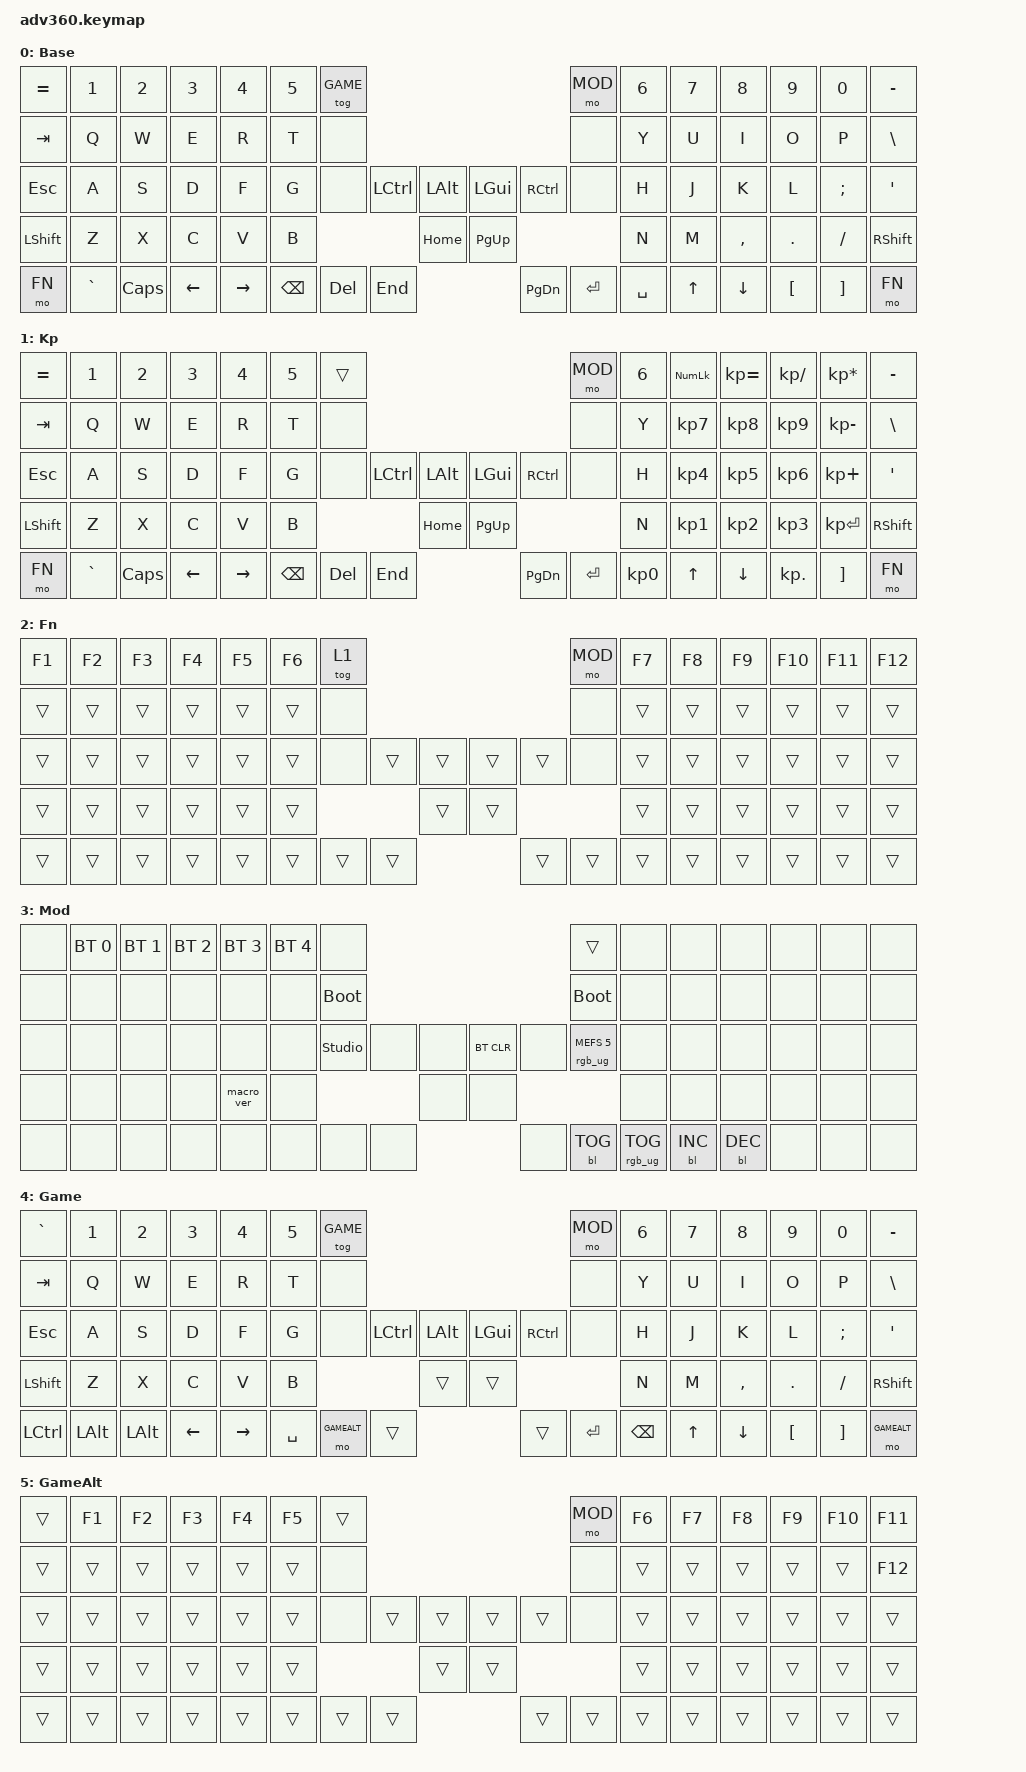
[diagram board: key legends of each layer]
#define DEFAULT 0
#define KEYPAD 1
#define FN 2
#define MOD 3
#define GAME 4
#define GAMEALT 5

#include <behaviors.dtsi>
#include <dt-bindings/zmk/keys.h>
#include <dt-bindings/zmk/bt.h>
#include <dt-bindings/zmk/rgb.h>
#include <dt-bindings/zmk/stp.h>
#include <dt-bindings/zmk/backlight.h>
#include <dt-bindings/zmk/pointing.h>

/ {
    behaviors {
      #include "macros.dtsi"
      #include "version.dtsi"

      hm: homerow_mods {
          compatible = "zmk,behavior-hold-tap";
          label = "HOMEROW_MODS";
          #binding-cells = <2>;
          tapping-term-ms = <200>;
          quick_tap_ms = <175>;
          flavor = "tap-preferred";
          bindings = <&kp>, <&kp>;
      };
    };

    keymap {
        compatible = "zmk,keymap";

    default_layer {
      display-name = "Base";
      bindings = <
        &kp EQUAL &kp N1    &kp N2   &kp N3   &kp N4     &kp N5 &tog GAME                                                        &mo MOD &kp N6 &kp N7 &kp N8    &kp N9   &kp N0   &kp MINUS
        &kp TAB   &kp Q     &kp W    &kp E    &kp R      &kp T  &none                                                            &none   &kp Y  &kp U  &kp I     &kp O    &kp P    &kp BSLH
        &kp ESC   &kp A     &kp S    &kp D    &kp F      &kp G  &none           &kp LCTRL &kp LALT &kp LGUI  &kp RCTRL           &none   &kp H  &kp J  &kp K     &kp L    &kp SEMI &kp SQT
        &kp LSHFT &kp Z     &kp X    &kp C    &kp V      &kp B                            &kp HOME &kp PG_UP                             &kp N  &kp M  &kp COMMA &kp DOT  &kp FSLH &kp RSHFT
        &mo FN    &kp GRAVE &kp CAPS &kp LEFT &kp RIGHT                &kp BSPC &kp DEL   &kp END  &kp PG_DN &kp ENTER &kp SPACE                &kp UP &kp DOWN  &kp LBKT &kp RBKT &mo FN
      >;
    };
    keypad {
      display-name = "Kp";
      bindings = <
        &kp EQUAL &kp N1    &kp N2   &kp N3   &kp N4     &kp N5 &trans                                                           &mo MOD &kp N6 &kp KP_NUM &kp KP_EQUAL &kp KP_DIVIDE &kp KP_MULTIPLY &kp MINUS
        &kp TAB   &kp Q     &kp W    &kp E    &kp R      &kp T  &none                                                            &none   &kp Y  &kp KP_N7  &kp KP_N8    &kp KP_N9     &kp KP_MINUS    &kp BSLH
        &kp ESC   &kp A     &kp S    &kp D    &kp F      &kp G  &none           &kp LCTRL &kp LALT &kp LGUI  &kp RCTRL           &none   &kp H  &kp KP_N4  &kp KP_N5    &kp KP_N6     &kp KP_PLUS     &kp SQT
        &kp LSHFT &kp Z     &kp X    &kp C    &kp V      &kp B                            &kp HOME &kp PG_UP                             &kp N  &kp KP_N1  &kp KP_N2    &kp KP_N3     &kp KP_ENTER    &kp RSHFT
        &mo FN    &kp GRAVE &kp CAPS &kp LEFT &kp RIGHT                &kp BSPC &kp DEL   &kp END  &kp PG_DN &kp ENTER &kp KP_N0                &kp UP     &kp DOWN     &kp KP_DOT    &kp RBKT        &mo FN
      >;
    };
    fn {
      display-name = "Fn";
      bindings = <
        &kp F1 &kp F2 &kp F3 &kp F4 &kp F5 &kp F6 &tog 1                                           &mo MOD &kp F7 &kp F8 &kp F9 &kp F10 &kp F11 &kp F12
        &trans &trans &trans &trans &trans &trans  &none                                           &none   &trans &trans &trans &trans  &trans  &trans
        &trans &trans &trans &trans &trans &trans  &none        &trans &trans &trans &trans        &none   &trans &trans &trans &trans  &trans  &trans
        &trans &trans &trans &trans &trans &trans                      &trans &trans                       &trans &trans &trans &trans  &trans  &trans
        &trans &trans &trans &trans &trans               &trans &trans &trans &trans &trans &trans                &trans &trans &trans  &trans  &trans
      >;
    };
    mod {
      display-name = "Mod";
      bindings = <
        &none &bt BT_SEL 0 &bt BT_SEL 1 &bt BT_SEL 2 &bt BT_SEL 3 &bt BT_SEL 4 &none                                                                     &trans                 &none        &none        &none        &none &none &none
        &none &none        &none        &none        &none        &none        &bootloader                                                               &bootloader            &none        &none        &none        &none &none &none
        &none &none        &none        &none        &none        &none        &studio_unlock          &none &none &bt BT_CLR &none                      &rgb_ug RGB_MEFS_CMD 5 &none        &none        &none        &none &none &none
        &none &none        &none        &none        &macro_ver   &none                                      &none &none                                                        &none        &none        &none        &none &none &none
        &none &none        &none        &none        &none                                       &none &none &none &none      &bl BL_TOG &rgb_ug RGB_TOG                                     &bl BL_INC   &bl BL_DEC   &none &none &none
      >;
    };
    game {
      display-name = "Game";
      bindings = <
        &kp GRAVE  &kp N1   &kp N2   &kp N3   &kp N4    &kp N5 &tog GAME                                                            &mo MOD &kp N6 &kp N7 &kp N8    &kp N9   &kp N0   &kp MINUS
        &kp TAB    &kp Q    &kp W    &kp E    &kp R     &kp T  &none                                                                &none   &kp Y  &kp U  &kp I     &kp O    &kp P    &kp BSLH
        &kp ESC    &kp A    &kp S    &kp D    &kp F     &kp G  &none               &kp LCTRL   &kp LALT &kp LGUI &kp RCTRL          &none   &kp H  &kp J  &kp K     &kp L    &kp SEMI &kp SQT
        &kp LSHIFT &kp Z    &kp X    &kp C    &kp V     &kp B                                  &trans   &trans                              &kp N  &kp M  &kp COMMA &kp DOT  &kp FSLH &kp RSHIFT
        &kp LCTRL  &kp LALT &kp LALT &kp LEFT &kp RIGHT                  &kp SPACE &mo GAMEALT &trans   &trans   &kp ENTER &kp BSPC                &kp UP &kp DOWN  &kp LBKT &kp RBKT &mo GAMEALT
      >;
    };
    gamealt {
      display-name = "GameAlt";
      bindings = <
        &trans &kp F1 &kp F2 &kp F3 &kp F4 &kp F5 &trans                                             &mo MOD &kp F6 &kp F7 &kp F8 &kp F9 &kp F10 &kp F11
        &trans &trans &trans &trans &trans &trans &none                                              &none   &trans &trans &trans &trans &trans  &kp F12
        &trans &trans &trans &trans &trans &trans &none          &trans  &trans &trans &trans        &none   &trans &trans &trans &trans &trans  &trans
        &trans &trans &trans &trans &trans &trans                        &trans &trans                       &trans &trans &trans &trans &trans  &trans
        &trans &trans &trans &trans &trans               &trans  &trans  &trans &trans &trans &trans                &trans &trans &trans &trans  &trans
      >;
    };
    extra1 { 
      display-name = "Red";    
      status = "reserved";
    };

    extra2 { 
      display-name = "Purple";    
      status = "reserved";
    };

    extra3 { 
      display-name = "Cyan";    
      status = "reserved";
    };

    extra4 { 
      display-name = "Yellow";    
      status = "reserved";
    };
  };
};
